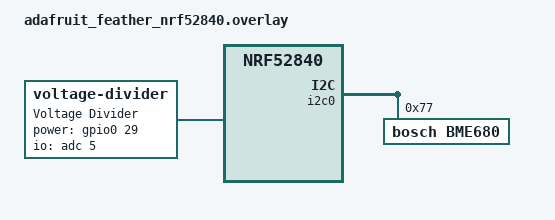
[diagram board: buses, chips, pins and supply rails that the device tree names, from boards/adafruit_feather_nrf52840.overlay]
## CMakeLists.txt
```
#
# Copyright (c) 2020 Patrick Moffitt <patrick@moffitt.com>
#
# SPDX-License-Identifier: Apache-2.0
#

cmake_minimum_required(VERSION 3.13.1)
set(BOARD adafruit_feather_nrf52840)
set(CMAKE_VERBOSE_MAKEFILE ON)

find_package(Zephyr REQUIRED HINTS $ENV{ZEPHYR_BASE})
project(zephyr)

FILE(GLOB app_sources src/*.c)
target_sources(app PRIVATE ${app_sources})

add_definitions(-Wfatal-errors)
```

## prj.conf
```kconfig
CONFIG_SOC_SERIES_NRF52X=y
CONFIG_SOC_NRF52840_QIAA=y
CONFIG_ARM_MPU=y
CONFIG_ENTROPY_NRF5_THR_THRESHOLD=4
CONFIG_ENTROPY_NRF5_ISR_THRESHOLD=12

CONFIG_SERIAL=n
CONFIG_CONSOLE=n
CONFIG_STDOUT_CONSOLE=n

CONFIG_I2C=y
CONFIG_SENSOR=y
CONFIG_BME680=y
CONFIG_GPIO=y
CONFIG_ADC=y

CONFIG_LOG=n
CONFIG_LOG_BACKEND_SHOW_COLOR=y
CONFIG_LOG_DEFAULT_LEVEL=3

CONFIG_USE_SEGGER_RTT=n
CONFIG_RTT_CONSOLE=n
CONFIG_UART_CONSOLE=n

CONFIG_BT=y
CONFIG_BT_DEBUG_LOG=n
CONFIG_BT_SMP=y
CONFIG_BT_SIGNING=y
CONFIG_BT_PERIPHERAL=y
CONFIG_BT_DIS=y
CONFIG_BT_DIS_MANUF="Moffitt Enterprises"

CONFIG_BT_ATT_PREPARE_COUNT=2
# Random MAC Address bool
CONFIG_BT_PRIVACY=y
# 833 Specifies Nordic
CONFIG_BT_DEVICE_APPEARANCE=833
CONFIG_BT_DEVICE_NAME_DYNAMIC=n
CONFIG_BT_DEVICE_NAME="BME680"
CONFIG_BT_GATT_DYNAMIC_DB=y
CONFIG_BT_CTLR_TX_PWR_DYNAMIC_CONTROL=y
CONFIG_BT_SETTINGS=y
CONFIG_SETTINGS=y
CONFIG_BT_GATT_CACHING=n
CONFIG_REBOOT=y

# Power MGMT
CONFIG_TICKLESS_KERNEL=y
CONFIG_TICKLESS_IDLE=y
```

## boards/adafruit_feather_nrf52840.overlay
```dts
/*
 * Copyright (c) 2020, Patrick Moffitt <patrick@moffitt.com>
 * Copyright (c) 2018-2019 Peter Bigot Consulting, LLC
 *
 * SPDX-License-Identifier: Apache-2.0
 *
 * i2c interface for the Feather nRF52840 Express and the
 * Adafruit BME680.
 *
 * Voltage divider interface for the Feather nRF52840 Express.
 */

/ {
    vbatt {
        compatible = "voltage-divider";
        label = "Voltage Divider";
        io-channels = <&adc 5>;
        power-gpios = <&gpio0 29 0>;
        output-ohms = <100000>;
        status = "okay";
    };
    aliases {
        vdiv = "/vbatt";
    };
};

&i2c0 {
    compatible = "nordic,nrf-twi";
    bme680: bme680@77 {
        compatible = "bosch,bme680";
        reg = <0x77>;
        label = "BME680";
    };
};
```

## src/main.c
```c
/*
 * Copyright (c) 2020 Patrick Moffitt <patrick@moffitt.com>
 *
 * SPDX-License-Identifier: Apache-2.0
 */

#include <zephyr.h>
#include <sys/printk.h>
#include <stddef.h>
#include <stdio.h>
#include <power/reboot.h>

#include "bme680.h"
#include "bt_gatt_config.h"
#include <logging/log.h>
LOG_MODULE_REGISTER(main);

int loop_counter = 0;
int loop_counter_limit = 2880;
void sleep_now(){
    LOG_INF("Going to sleep.");
    loop_counter = loop_counter_limit;
}

void main(void)
{
    uint32_t now = k_uptime_get_32();

    int return_code;
    return_code = bind_dev_bme680();
    if (return_code != 0) {
        LOG_ERR("Failed to bind BME680 (error %d).", return_code);
        return;
    }

    bt_gatt_notify_readings(); // Loads sensor reading into BT structs.

    // Setup BLE
    return_code = bt_enable(bt_ready);
    if (return_code) {
        LOG_ERR("Bluetooth enable failed (return code %d)\n", return_code);
        return;
    }

    bt_conn_cb_register(&conn_callbacks);

    while (loop_counter < loop_counter_limit) {
        k_sleep(K_MSEC(12));
        k_yield();
        bt_gatt_notify_readings();
        loop_counter++;
    }

    return_code = bme680_power_off();
    if (return_code == 0){
        LOG_INF("BME680 power off.\n");
    }
    return_code = bt_le_adv_stop();
    if (return_code == 0){
        LOG_INF("BLE advertising stopped.\n");
    }

    LOG_INF("Elapsed time %d ms.", (k_uptime_get_32() - now));

    k_sleep(K_MINUTES(15));
    sys_reboot(SYS_REBOOT_COLD);
}
```

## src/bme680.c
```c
/*
 * Copyright (c) 2020, Patrick Moffitt <patrick@moffitt.com>
 * Copyright (c) 2018 Bosch Sensortec GmbH
 *
 * SPDX-License-Identifier: Apache-2.0
 *
 * i2c interface for the Feather nRF52840 Express and the
 * Adafruit BME680
 */

#include "bme680.h"
LOG_MODULE_REGISTER(dev_bme680);

// Sensor BME680
const struct device *dev_bme680;

const struct sensor_value temp_calib = {-1, -0.4};

/*
 * @brief Turn the BME680 sensor on.
 *
 * @return 0 on success or negative error value.
 */
int bme680_power_on() {
    // GPIO Controller 0
    const struct device *gpio_0;
    const char *dev_gpio0_label =
            DT_LABEL(DT_INST(0, nordic_nrf_gpio));
    gpio_0 = device_get_binding(dev_gpio0_label);
    if (gpio_0 == NULL) {
        LOG_ERR("Failed to bind %s device.\n", dev_gpio0_label);
        return -EINVAL;
    }
    LOG_INF("Bound device %s.\n", dev_gpio0_label);
    gpio_pin_t a0 = 4;
    uint32_t flags = GPIO_OUTPUT_HIGH;
    int return_code = gpio_pin_configure(gpio_0, a0, flags);
    if (return_code < 0) {
        LOG_ERR("Failed to configure pins for %s device.\n", dev_gpio0_label);
        return return_code;
    }
    LOG_INF("Set pin %d on device %s.\n", a0, dev_gpio0_label);
    return 0;
}

/*
 * @brief Save power by turning the BME680 sensor off.
 *
 * @return 0 on success or negative error value.
 */
int bme680_power_off(){
    const struct device *gpio_0;
    const char *dev_gpio0_label =
            DT_LABEL(DT_INST(0, nordic_nrf_gpio));
    gpio_0 = device_get_binding(dev_gpio0_label);
    if (gpio_0 == NULL) {
        LOG_ERR("Failed to bind %s device.\n", dev_gpio0_label);
        return -EINVAL;
    }
    LOG_INF("Bound device %s.\n", dev_gpio0_label);
    gpio_pin_t a0 = 4;
    uint32_t flags = GPIO_INPUT | GPIO_PULL_DOWN;
    int return_code = gpio_pin_configure(gpio_0, a0, flags);
    if (return_code < 0) {
        LOG_ERR("Failed to configure pins for %s device.\n", dev_gpio0_label);
        return return_code;
    }
    LOG_INF("Set pin %d on device %s.\n", a0, dev_gpio0_label);
    return 0;
}

SYS_INIT(bme680_power_on, PRE_KERNEL_2, BME680_PWR_INIT_PRIORITY);

/*
 * @brief Bind BME680 sensor to device struct
 *
 * @return -EINVAL if label is not found or can't be used or 0 on success.
 */
int bind_dev_bme680(){
    const char *dev_bme680_label =
            DT_LABEL(DT_INST(0, bosch_bme680));
    dev_bme680 = device_get_binding(dev_bme680_label);
    if (dev_bme680 == NULL) {
        LOG_ERR("Failed to bind %s device.\n", dev_bme680_label);
        return -EINVAL;
    }
    LOG_INF("Bound device %s\n", dev_bme680->name);
    return 0;
}
```

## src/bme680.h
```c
/*
 * Copyright (c) 2020, Patrick Moffitt <patrick@moffitt.com>
 * Copyright (c) 2018 Bosch Sensortec GmbH
 *
 * SPDX-License-Identifier: Apache-2.0
 *
 * i2c interface for the Feather nRF52840 Express and the
 * Adafruit BME680
 */

#ifndef FEATHER_NRF52840_I2C_BME680_H
#define FEATHER_NRF52840_I2C_BME680_H

#include <zephyr.h>
#include <device.h>
#include <devicetree.h>
#include <drivers/gpio.h>
#include <drivers/sensor.h>
#include <init.h>
#include <logging/log.h>

#define BME680_PWR_INIT_PRIORITY 0U
#define BME680_TEMP_CALIBRATION -1.4f
#define BT_UUID_RESISTANCE_OHMS 0x272A
#ifndef BT_CPF_UNIT_INT32
#define BT_CPF_UNIT_INT32 0x08 // BLE_GATT_CPF_FORMAT_UINT32
#endif

/* Temperature calibration values. */
extern const struct sensor_value temp_calib;

/* Exported for bt_gatt_config::update_sensor_data() */
extern const struct device *dev_bme680;

extern int bme680_power_on();
extern int bme680_power_off();
extern int bind_dev_bme680();

#endif //FEATHER_NRF52840_I2C_BME680_H
```

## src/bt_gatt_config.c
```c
/*
 * Copyright (c) 2020, Patrick Moffitt <patrick@moffitt.com>
 *
 * SPDX-License-Identifier: Apache-2.0
 *
 * BLE GATT configuration for bt_notify of BME680 and VBATT
 */

#include "bt_gatt_config.h"
LOG_MODULE_REGISTER(bt_gatt_config);

/* Characteristic Configuration Change (CCC)
 * Notify Callback Temperature Changed */
static unsigned char bTNotify;

/* Notify Temperature Changed Callback Function */
static void T_ccc_cfg_changed(const struct bt_gatt_attr *attr,
                              unsigned short value)
{
    bTNotify = (value == BT_GATT_CCC_NOTIFY) ? 1 : 0;
}

/* Characteristic Configuration Change (CCC)
 * Notify Callback Humidity Changed */
static unsigned char bHNotify;

/* Notify Humidity Changed Callback Function */
static void H_ccc_cfg_changed(const struct bt_gatt_attr *attr,
                              unsigned short value)
{
    bHNotify = (value == BT_GATT_CCC_NOTIFY) ? 1 : 0;
}

/* Characteristic Configuration Change (CCC)
 * Notify Callback Pressure Changed */
static unsigned char bPNotify;

/* Notify Pressure Changed Callback Function */
static void P_ccc_cfg_changed(const struct bt_gatt_attr *attr,
                              unsigned short value)
{
    bPNotify = (value == BT_GATT_CCC_NOTIFY) ? 1 : 0;
}

/* Characteristic Configuration Change (CCC)
 * Notify Callback Gas Ohms Changed */
static unsigned char bGNotify;

/* Notify Gas Ohms Callback Function */
static void G_ccc_cfg_changed(const struct bt_gatt_attr *attr,
                              unsigned short value)
{
    bGNotify = (value == BT_GATT_CCC_NOTIFY) ? 1 : 0;
}

/* Characteristic Configuration Change (CCC)
 * Notify Callback Battery V Changed */
static unsigned char bBNotify;

/* Notify Battery V Changed Callback Function */
static void B_ccc_cfg_changed(const struct bt_gatt_attr *attr,
                              unsigned short value)
{
    bBNotify = (value == BT_GATT_CCC_NOTIFY) ? 1 : 0;
}

/* Characteristic Configuration Change (CCC)
 * Notify Callback Notify Acknowledged Changed */
static unsigned char bANotify;

/* Notify Notify Acknowledged Changed Callback Function */
static void A_ccc_cfg_changed(const struct bt_gatt_attr *attr,
                              unsigned short value)
{
    bANotify = (value == BT_GATT_CCC_NOTIFY) ? 1 : 0;
}


static signed int T_val[1] = {0};

// Read Temperature
static ssize_t read_T(struct bt_conn *conn, const struct bt_gatt_attr *attr,
                      void *buf, unsigned short len, unsigned short offset)
{
    const char *value = attr->user_data;
    return bt_gatt_attr_read(conn, attr, buf, len, offset, value,
                             sizeof(T_val));
}

static signed int H_val[1] = {0};

// Read humidity
static ssize_t read_H(struct bt_conn *conn, const struct bt_gatt_attr *attr,
                      void *buf, unsigned short len, unsigned short offset)
{
    const char *value = attr->user_data;
    return bt_gatt_attr_read(conn, attr, buf, len, offset, value,
                             sizeof(H_val));
}

static signed int P_val[1] = {0};

// Read Pressure
static ssize_t read_P(struct bt_conn *conn, const struct bt_gatt_attr *attr,
                      void *buf, unsigned short len, unsigned short offset)
{
    const char *value = attr->user_data;
    return bt_gatt_attr_read(conn, attr, buf, len, offset, value,
                             sizeof(P_val));
}

static signed int G_val[1] = {0};

// Read Gas
static ssize_t read_G(struct bt_conn *conn, const struct bt_gatt_attr *attr,
                      void *buf, unsigned short len, unsigned short offset)
{
    const char *value = attr->user_data;
    return bt_gatt_attr_read(conn, attr, buf, len, offset, value,
                             sizeof(G_val));
}

static signed int B_val[1] = {0};

// Read Battery
static ssize_t read_B(struct bt_conn *conn, const struct bt_gatt_attr *attr,
                      void *buf, unsigned short len, unsigned short offset)
{
    const char *value = attr->user_data;
    return bt_gatt_attr_read(conn, attr, buf, len, offset, value,
                             sizeof(B_val));
}

static signed int A_val[1] = {0};

// Read Notify Acknowledge
static ssize_t read_A(struct bt_conn *conn, const struct bt_gatt_attr *attr,
                      void *buf, unsigned short len, unsigned short offset)
{
    const char *value = attr->user_data;
    return bt_gatt_attr_read(conn, attr, buf, len, offset, value,
                             sizeof(A_val));
}

// Write Notify Acknowledged
static ssize_t write_A(struct bt_conn *conn, const struct bt_gatt_attr *attr,
                          const void *buf, uint16_t len, uint16_t offset,
                          uint8_t flags)
{
    uint16_t value;

    if (offset) {
        return BT_GATT_ERR(BT_ATT_ERR_INVALID_OFFSET);
    }

    if (!len || len > sizeof(uint16_t)) {
        return BT_GATT_ERR(BT_ATT_ERR_INVALID_ATTRIBUTE_LEN);
    }

    if (len < sizeof(uint16_t)) {
        value = *(uint8_t *)buf;
    } else {
        value = sys_get_le16(buf);
    }
    LOG_INF("Notify Acknowledged: %hu\n", value);
    extern void sleep_now();
    sleep_now();
    return 0;
}

/* Primary Service Declaration */
static struct bt_gatt_attr primary_attrs[] = {
    /* Environmental Sensor Service */
    BT_GATT_PRIMARY_SERVICE(BT_UUID_ESS),

    // Temperature
    BT_GATT_CHARACTERISTIC(BT_UUID_TEMPERATURE,
                           BT_GATT_CHRC_READ | BT_GATT_CHRC_NOTIFY,
                           BT_GATT_PERM_READ,
                           read_T, NULL, T_val),
    BT_GATT_CCC(T_ccc_cfg_changed, BT_GATT_PERM_READ | BT_GATT_PERM_WRITE),

    // Humidity
    BT_GATT_CHARACTERISTIC(BT_UUID_HUMIDITY,
                           BT_GATT_CHRC_READ | BT_GATT_CHRC_NOTIFY,
                           BT_GATT_PERM_READ,
                           read_H, NULL, H_val),
    BT_GATT_CCC(H_ccc_cfg_changed, BT_GATT_PERM_READ | BT_GATT_PERM_WRITE),

    // Pressure
    BT_GATT_CHARACTERISTIC(BT_UUID_PRESSURE,
                           BT_GATT_CHRC_READ | BT_GATT_CHRC_NOTIFY,
                           BT_GATT_PERM_READ,
                           read_P, NULL, P_val),
    BT_GATT_CCC(P_ccc_cfg_changed, BT_GATT_PERM_READ | BT_GATT_PERM_WRITE),

    // Gas Resistance
    BT_GATT_CHARACTERISTIC(&G_uuid.uuid,
                           BT_GATT_CHRC_READ | BT_GATT_CHRC_NOTIFY,
                           BT_GATT_PERM_READ,
                           read_G, NULL, G_val),
    BT_GATT_CUD(gas_resistance_label, BT_GATT_PERM_READ),
    BT_GATT_CPF(&gas_res_cpf),
    BT_GATT_CCC(G_ccc_cfg_changed, BT_GATT_PERM_READ | BT_GATT_PERM_WRITE),

    // Battery Level
    BT_GATT_CHARACTERISTIC(BT_UUID_BAS_BATTERY_LEVEL,
                           BT_GATT_CHRC_READ | BT_GATT_CHRC_NOTIFY,
                           BT_GATT_PERM_READ,
                           read_B, NULL, B_val),
    BT_GATT_CPF(&batt_volts_cpf),
    BT_GATT_CCC(B_ccc_cfg_changed, BT_GATT_PERM_READ | BT_GATT_PERM_WRITE),

    // Notify Acknowledge
    BT_GATT_CHARACTERISTIC(&A_uuid.uuid,
                           BT_GATT_CHRC_READ | BT_GATT_CHRC_NOTIFY
                           | BT_GATT_CHRC_WRITE_WITHOUT_RESP,
                           BT_GATT_PERM_READ | BT_GATT_PERM_WRITE,
                           read_A, write_A, A_val),
    BT_GATT_CUD(notify_acknowledge_label, BT_GATT_PERM_READ),
    BT_GATT_CPF(&notify_ack_cpf),
    BT_GATT_CCC(A_ccc_cfg_changed, BT_GATT_PERM_READ | BT_GATT_PERM_WRITE)
};

static struct bt_gatt_service primary_svc = BT_GATT_SERVICE(primary_attrs);

// Connected event handler (callback function).
static void connected(struct bt_conn *conn, unsigned char err)
{
    if (err) {
        LOG_ERR("Connection failed (err %u)\n", err);
    } else {
        LOG_INF("Connected\n");
    }
}

// Disconnected event handler (callback function).
static void disconnected(struct bt_conn *conn, unsigned char reason)
{
    LOG_INF("Disconnected (reason %u)\n", reason);
}

// Register connected and disconnected (event) callback functions.
struct bt_conn_cb conn_callbacks = {
        .connected = connected,
        .disconnected = disconnected,
};

/**
 * @brief Format two integers as data for bt_gatt_notify
 *
 * @param lhs The integer for the left-hand side of the decimal point.
 * @param rhs The integer for the right-hand side of the decimal point.
 * @param places The number of decimal places required.
 */
static int sensor_val_arr_to_int(int lhs, int rhs, int places)
{
    int pow10[] = {1, 10, 100, 1000, 10000, 100000, 1000000};
    lhs *= pow10[places];
    char rhs_char[7];
    snprintf(rhs_char, sizeof(rhs_char), "%06d", rhs);
    int p = places - 1;
    for (int i=0; i<places; i++)
    {
        lhs += (rhs_char[i] - 48) * pow10[p]; // ascii[48] = '0'
        p--;
    }
    return lhs;
}

static int update_sensor_data() {
    struct adc_results battery;
    battery = read_battery();

    struct sensor_value temp, press, humidity, gas_ohms;
    int return_code;
    // Get sensor data.
    return_code = sensor_sample_fetch(dev_bme680);
    if (return_code < 0) {
        LOG_ERR("Failed to fetch samples from BME680 (error %d).\n",
                return_code);
        return return_code;
    }
    /* Adjust reading to correct by calibrated error. */
    temp.val1 += temp_calib.val1;
    temp.val2 += temp_calib.val2;

    return_code = sensor_channel_get(dev_bme680, SENSOR_CHAN_AMBIENT_TEMP,
                                     &temp);
    if (return_code < 0) {
        LOG_ERR("Failed to get temperature from channel (error %d).\n",
                return_code);
        return return_code;
    }

    return_code = sensor_channel_get(dev_bme680, SENSOR_CHAN_HUMIDITY,
                                     &humidity);
    if (return_code < 0) {
        LOG_ERR("Failed to get humidity from channel (error %d).\n",
                return_code);
        return return_code;
    }

    return_code = sensor_channel_get(dev_bme680, SENSOR_CHAN_PRESS,
                                     &press);
    if (return_code < 0) {
        LOG_ERR("Failed to get pressure from channel (error %d).\n",
                return_code);
        return return_code;
    }

    return_code = sensor_channel_get(dev_bme680, SENSOR_CHAN_GAS_RES,
                                     &gas_ohms);
    if (return_code < 0) {
        LOG_ERR("Failed to get gas ohms from channel (error %d).\n",
                return_code);
        return return_code;
    }

    T_val[0] = sensor_val_arr_to_int(temp.val1, temp.val2, 2);
    H_val[0] = sensor_val_arr_to_int(humidity.val1, humidity.val2, 2);
    P_val[0] = sensor_val_arr_to_int(press.val1, press.val2, 4);
    G_val[0] = gas_ohms.val1;
    B_val[0] = battery.millivolts;

    LOG_INF("T: %d.%06d; H: %d.%06d; P: %d.%06d; G: %d; B: %d\n",
            temp.val1, temp.val2, humidity.val1, humidity.val2,
            press.val1, press.val2, gas_ohms.val1, battery.millivolts);
    return return_code;
}

// BT Enable event callback function.
void bt_ready(int err)
{
    if (err) {
        LOG_ERR("Bluetooth init failed (err %d)\n", err);
        return;
    }

    LOG_INF("Bluetooth initialized.\n");

    int return_code;
    return_code = bt_gatt_service_register(&primary_svc);
    if (return_code != 0)
        LOG_ERR("Failed to register primary service.");

    if (IS_ENABLED(CONFIG_SETTINGS)) {
        return_code = settings_load();
        if (return_code != 0)
            LOG_ERR("BT settings load failed.");
    }

    return_code = bt_le_adv_start(BT_LE_ADV_CONN_NAME, ad,
                                  ARRAY_SIZE(ad), NULL, 0);
    if (return_code) {
        LOG_ERR("Advertising failed to start (err %d)\n", return_code);
        return;
    }

    LOG_INF("Advertising successfully started.\n");
}

int bt_gatt_notify_readings() {
    int return_code = 0;
    // Test is true for uninitialized BME680 sensor.
    while(T_val[0] == 0U && H_val[0] == 0U && P_val[0] == 0U && G_val[0] == 0U) {
        return_code = update_sensor_data();
        k_sleep(K_MSEC(25));
    }

    if (return_code < 0) {
        LOG_ERR("Update sensor data failed (error: %d).\n", return_code);
        return return_code;
    }

    bt_gatt_notify(NULL, &primary_attrs[2], T_val, sizeof(T_val));
    bt_gatt_notify(NULL, &primary_attrs[5], H_val, sizeof(H_val));
    bt_gatt_notify(NULL, &primary_attrs[8], P_val, sizeof(P_val));
    bt_gatt_notify(NULL, &primary_attrs[11], G_val, sizeof(G_val));
    bt_gatt_notify(NULL, &primary_attrs[16], B_val, sizeof(B_val));
    bt_gatt_notify(NULL, &primary_attrs[20], A_val, sizeof(A_val));

    return return_code;
}
```

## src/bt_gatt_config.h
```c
/*
 * Copyright (c) 2020, Patrick Moffitt <patrick@moffitt.com>
 *
 * SPDX-License-Identifier: Apache-2.0
 *
 * BLE GATT configuration for bt_notify of BME680 and VBATT
 */

#ifndef FEATHER_NRF52840_BT_GATT_CONFIG_H
#define FEATHER_NRF52840_BT_GATT_CONFIG_H

#include <bluetooth/bluetooth.h>
#include <bluetooth/conn.h>
#include <bluetooth/uuid.h>
#include <bluetooth/gatt.h>
#include <sys/byteorder.h>
#include <settings/settings.h>
#include <logging/log.h>

#include "bme680.h"
#include "vbatt.h"

/* Custom Notify Acknowledge Characteristics */
static const struct bt_uuid_128 A_uuid = BT_UUID_INIT_128(
        0xee, 0xcd, 0xab, 0x56, 0x34, 0x12, 0x90, 0x78,
        0x56, 0x34, 0x12, 0x90, 0x78, 0x56, 0x34, 0x12);

static const char notify_acknowledge_label[] = "Notify Acknowledge";

#define BT_UUID_UNITLESS 0x2700
/* Custom Notify Acknowledge Presentation Format */
static const struct bt_gatt_cpf notify_ack_cpf = {
        .unit = BT_UUID_UNITLESS,
        .format = BT_CPF_UNIT_INT32
};


static const char gas_resistance_label[] = "Gas Resistance Ohms";

/* Custom Gas Resistance Presentation Format */
static const struct bt_gatt_cpf gas_res_cpf = {
        .unit = BT_UUID_RESISTANCE_OHMS,
        .format = BT_CPF_UNIT_INT32
};

/* Custom Gas Resistance Characteristics */
static const struct bt_uuid_128 G_uuid = BT_UUID_INIT_128(
        0xef, 0xcd, 0xab, 0x56, 0x34, 0x12, 0x90, 0x78,
        0x56, 0x34, 0x12, 0x90, 0x78, 0x56, 0x34, 0x12);

/* Custom Battery Volts Presentation Format */
static const struct bt_gatt_cpf batt_volts_cpf = {
        .unit = BT_UUID_ELECTRIC_POTENTIAL_DIFFERENCE_VOLTS,
        .format = BT_CPF_UNIT_INT32
};

static unsigned char mfg_data[] = {0x22, 0x08}; // Adafruit Industries

static const struct bt_data ad[] = {
        BT_DATA_BYTES(BT_DATA_FLAGS, (BT_LE_AD_GENERAL | BT_LE_AD_NO_BREDR)),
        BT_DATA(BT_DATA_MANUFACTURER_DATA, mfg_data, sizeof(mfg_data)),

        BT_DATA_BYTES(BT_DATA_UUID128_ALL,
                      0xf0, 0xde, 0xbc, 0x9a, 0x78, 0x56, 0x34, 0x12,
                      0x78, 0x56, 0x34, 0x12, 0x78, 0x56, 0x34, 0x12),
};

extern void bt_ready(int err);

extern struct bt_conn_cb conn_callbacks;

extern int bt_gatt_notify_readings();

#endif //FEATHER_NRF52840_BT_GATT_CONFIG_H
```

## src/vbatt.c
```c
/*
 * Copyright (c) 2020, Patrick Moffitt <patrick@moffitt.com>
 * Copyright (c) 2018-2019 Peter Bigot Consulting, LLC
 * Copyright (c) 2019-2020 Nordic Semiconductor ASA
 *
 * SPDX-License-Identifier: Apache-2.0
 *
 * Battery voltage monitor for the Adafruit Feather nRF52840 Express.
 */


#include "vbatt.h"
LOG_MODULE_REGISTER(vbatt);

struct adc_results read_battery(){
    struct divider_data dd;
    struct adc_results results = {0, 0, 0,
            0, "0.0"};
    int return_code;

    LOG_INF("%s status: %s\n", VDIV_LABEL, VDIV_STATUS);

    dd.adc = device_get_binding(VDIV_ADC_LABEL);
    if (dd.adc == NULL) {
        LOG_ERR("Unable to bind %s adc device.", VDIV_LABEL);
        return results;
    }

    dd.gpio = device_get_binding(VDIV_GPIO_LABEL);
    if (dd.gpio == NULL) {
        LOG_ERR("Unable to bind %s gpio device.", VDIV_GPIO_LABEL);
        return results;
    }

    return_code = gpio_pin_configure(dd.gpio, VDIV_GPIO_PIN,
                                     VDIV_GPIO_FLAGS);
    if (return_code < 0) {
        LOG_ERR("Unable to configure pin %d on %s.",
                VDIV_GPIO_PIN,
                VDIV_GPIO_LABEL);
        return results;
    }

    dd.adc_cfg = (struct adc_channel_cfg){
            .gain = ADC_GAIN_1_6,
            .reference = ADC_REF_INTERNAL,
            .acquisition_time =
                    ADC_ACQ_TIME(ADC_ACQ_TIME_MICROSECONDS, 40),
            .input_positive =
                    SAADC_CH_PSELP_PSELP_AnalogInput0 + VDIV_ADC_CHAN,
    };
    return_code = adc_channel_setup(dd.adc, &dd.adc_cfg);
    if (return_code < 0) {
        LOG_ERR("Failed to setup of %s channel %d. Error code %d.\n",
                VDIV_ADC_LABEL,
                VDIV_ADC_CHAN,
                return_code);
        return results;
    } else {
        LOG_INF("Setup of %s channel %d succeeded.\n",
                VDIV_ADC_LABEL,
                VDIV_ADC_CHAN);
    }

    return_code = gpio_pin_set(dd.gpio, VDIV_GPIO_PIN, 1);
    if (return_code < 0) {
        LOG_ERR("Failed to enable gpio pin.\n");
        return results;
    }

    dd.raw = 0;
    dd.adc_seq = (struct adc_sequence){
            .channels = BIT(0),
            .buffer = &dd.raw,
            .buffer_size = sizeof(dd.raw),
            .oversampling = NRF52840_ADC_OVERSAMPLING,
            .calibrate = true,
            .resolution = NRF52840_ADC_RESOLUTION,
    };

    return_code = adc_read(dd.adc, &dd.adc_seq);
    if (return_code < 0) {
        LOG_ERR("Failed reading ADC.\n");
        return results;
    }
    dd.adc_seq.calibrate = false;

    results.divided_mV = dd.raw;
    return_code = adc_raw_to_millivolts(adc_ref_internal(dd.adc),
                                        dd.adc_cfg.gain,
                                        dd.adc_seq.resolution,
                                        &results.divided_mV);
    if (return_code == -EINVAL) {
        LOG_ERR("Failed converting ADC raw to millivolts.\n");
        return results;
    }
    results.millivolts = VDIV_DIVISOR * results.divided_mV;
    results.adc_ref_mV = adc_ref_internal(dd.adc);
    results.res_bits = 1UL << dd.adc_seq.resolution;
    snprintf(results.volts, sizeof(results.volts), "%f.3f",
             (results.millivolts / 1000.0)); /* Convert mV to V. */

    LOG_INF("ADC reference voltage: %d mV\n", results.adc_ref_mV);
    LOG_INF("ADC gain ratio 1:%d.\n", NRF52840_ADC_GAIN_RATIO_1_6);
    LOG_INF("ADC resolution bits: %lu\n", results.res_bits);
    LOG_INF("Voltage divider divisor: %d\n", VDIV_DIVISOR);
    LOG_INF("ADC raw: %d\n", dd.raw);
    LOG_INF("The Math:\n");
    LOG_INF("div_div * raw * ((adc_ref_mV * gain) / resolution_bits) = mV\n");
    LOG_INF("%d * %d * ((%d * %d) / %lu) = %d mV.\n",
            VDIV_DIVISOR,
            dd.raw,
            results.adc_ref_mV,
            NRF52840_ADC_GAIN_RATIO_1_6,
            results.res_bits,
            results.millivolts);
    LOG_INF("Battery voltage: %s\n", log_strdup(results.volts));
    return results;
}
```

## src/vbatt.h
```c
/*
 * Copyright (c) 2020, Patrick Moffitt <patrick@moffitt.com>
 * Copyright (c) 2018-2019 Peter Bigot Consulting, LLC
 * Copyright (c) 2019-2020 Nordic Semiconductor ASA
 *
 * SPDX-License-Identifier: Apache-2.0
 *
 * Voltage divider interface for the Feather nRF52840 Express.
 */

#ifndef FEATHER_NRF52840_DEVICE_CONFIG_H
#define FEATHER_NRF52840_DEVICE_CONFIG_H

#include <zephyr.h>
#include <stdio.h>
#include <device.h>
#include <devicetree.h>
#include <sys/printk.h>
#include <drivers/gpio.h>
#include <drivers/adc.h>
#include "vbatt.h"
#include <logging/log.h>

#define VDIV            DT_ALIAS(vdiv)
#if DT_NODE_HAS_STATUS(VDIV, okay)
#define VDIV_LABEL      DT_LABEL(VDIV)
#define VDIV_ADC_LABEL  DT_IO_CHANNELS_LABEL(VDIV)
#define VDIV_ADC_CHAN   DT_IO_CHANNELS_INPUT(VDIV)
#define VDIV_GPIO_LABEL DT_GPIO_LABEL(VDIV, power_gpios)
#define VDIV_GPIO_PIN   DT_PHA_BY_IDX(VDIV, power_gpios, 0, pin)
#define VDIV_GPIO_FLAGS GPIO_OUTPUT_INACTIVE
#define VDIV_STATUS     DT_PROP(VDIV, status)
#else
#error "No voltage divider found in the device tree."
#endif

/* The Feather's twin 100KΩ VDIV divides by 2. */
#define VDIV_DIVISOR 2

/* https://infocenter.nordicsemi.com/topic/ps_nrf52840/saadc.html?cp=4_0_0_5_22 */
#define NRF52840_ADC_GAIN_RATIO_1_6 6
#define NRF52840_ADC_RESOLUTION     14U
#define NRF52840_ADC_OVERSAMPLING   4U

#define BT_UUID_ELECTRIC_POTENTIAL_DIFFERENCE_VOLTS 0x2728
#ifndef BT_CPF_UNIT_INT32
#define BT_CPF_UNIT_INT32 0x08 // BLE_GATT_CPF_FORMAT_UINT32
#endif

/* Inputs for the ADC */
struct divider_data {
    const struct device *adc;
    const struct device *gpio;
    struct adc_channel_cfg adc_cfg;
    struct adc_sequence adc_seq;
    uint32_t raw;
};

/* Outputs and other calculated values from the ADC. */
struct adc_results {
    /* Reference voltage in millivolts */
    uint16_t adc_ref_mV;
    /* ADC resolution bits expressed as a decimal integer. */
    unsigned long res_bits;
    /* ADC millivolts reading as divided by the voltage divider. */
    int32_t divided_mV;
    /* Un-divided ADC millivolts reading. */
    int32_t millivolts;
    /* ADC reading expressed in Volts. */
    char volts[6];
};

extern struct adc_results read_battery();

#endif //FEATHER_NRF52840_DEVICE_CONFIG_H
```
